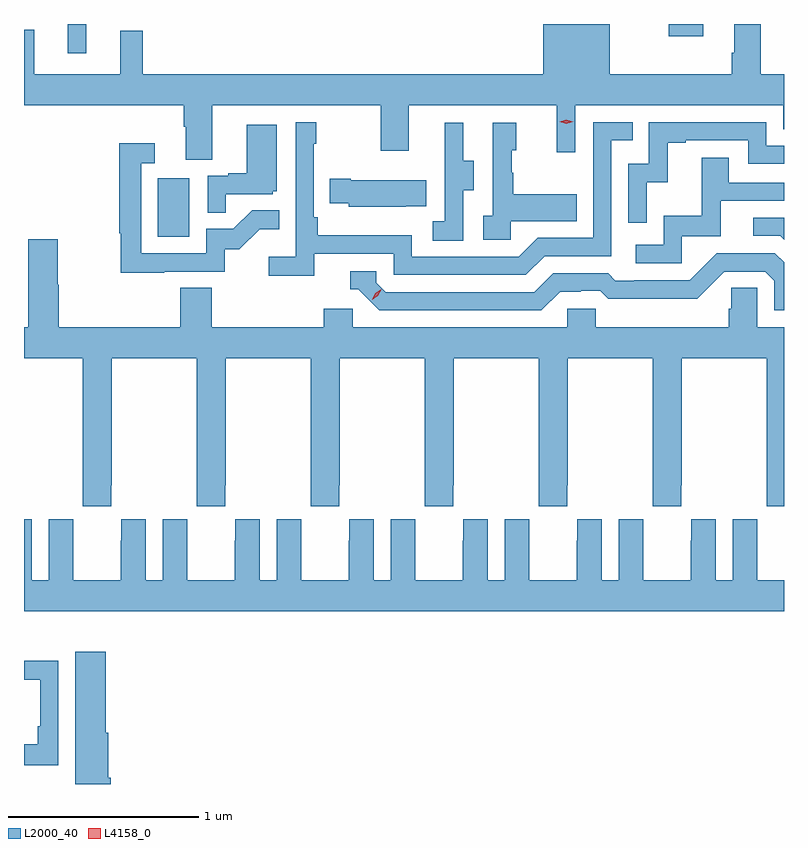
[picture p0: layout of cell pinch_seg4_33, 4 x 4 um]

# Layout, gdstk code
import gdstk
lib = gdstk.Library(unit=1e-6, precision=1e-09)
def R(c, l, rs):  # rectangles x0, y0, x1, y1
    for r in rs: c.add(gdstk.rectangle(r[:2], r[2:], *l))
def P(c, l, *ps):  # polygons
    for p in ps: c.add(gdstk.Polygon(p, *l))
L2000_40 = (2000, 40)
L4158_0 = (4158, 0)

pinch_seg4_33 = lib.new_cell('pinch_seg4_33')
R(pinch_seg4_33, L2000_40, [(1115.036,829.428,1115.2,829.735), (1114.562,830.394,1114.659,830.548), (1117.725,830.484,1117.906,830.548)])
P(pinch_seg4_33, L2000_40, [(1115.323,830.12),(1116.208,830.12),(1116.208,829.881),(1116.355,829.881),(1116.355,830.12),(1117.136,830.12),(1117.136,829.872),(1117.233,829.872),(1117.233,830.12),(1118.328,830.12),(1118.328,829.993),(1118.331,829.993),(1118.331,830.284),(1118.209,830.284),(1118.209,830.548),(1118.069,830.548),(1118.069,830.396),(1118.057,830.396),(1118.057,830.284),(1117.414,830.284),(1117.414,830.548),(1117.064,830.548),(1117.064,830.284),(1114.955,830.284),(1114.955,830.512),(1114.838,830.512),(1114.838,830.284),(1114.385,830.284),(1114.385,830.518),(1114.331,830.518),(1114.331,830.12),(1115.171,830.12),(1115.171,830.008),(1115.183,830.008),(1115.183,829.834),(1115.323,829.834)],
  [(1115.858,829.338),(1116.276,829.338),(1116.276,829.227),(1116.973,829.227),(1117.072,829.326),(1117.422,829.326),(1117.422,829.935),(1117.535,829.935),(1117.535,830.031),(1117.326,830.031),(1117.326,829.422),(1117.035,829.422),(1116.936,829.323),(1116.372,829.323),(1116.372,829.435),(1115.876,829.435),(1115.876,829.531),(1115.856,829.531),(1115.856,829.919),(1115.869,829.919),(1115.869,830.032),(1115.76,830.032),(1115.76,829.324),(1115.619,829.324),(1115.619,829.222),(1115.858,829.222)],
  [(1117.608,829.715),(1117.718,829.715),(1117.718,829.923),(1117.813,829.923),(1117.813,829.935),(1118.142,829.935),(1118.142,829.812),(1118.331,829.812),(1118.331,829.908),(1118.238,829.908),(1118.238,830.031),(1117.62,830.031),(1117.62,829.812),(1117.512,829.812),(1117.512,829.503),(1117.608,829.503)],
  [(1116.894,829.511),(1117.241,829.511),(1117.241,829.651),(1116.907,829.651),(1116.907,829.766),(1116.897,829.766),(1116.897,829.884),(1116.922,829.884),(1116.922,830.029),(1116.798,830.029),(1116.798,829.538),(1116.747,829.538),(1116.747,829.413),(1116.894,829.413)],
  [(1116.642,829.672),(1116.697,829.672),(1116.697,829.827),(1116.643,829.827),(1116.643,830.029),(1116.545,830.029),(1116.545,829.815),(1116.546,829.815),(1116.546,829.511),(1116.483,829.511),(1116.483,829.408),(1116.642,829.408)],
  [(1115.393,829.653),(1115.64,829.653),(1115.64,829.668),(1115.662,829.668),(1115.662,830.017),(1115.504,830.017),(1115.504,829.762),(1115.405,829.762),(1115.405,829.749),(1115.298,829.749),(1115.298,829.555),(1115.393,829.555)],
  [(1115.069,829.245),(1115.388,829.245),(1115.388,829.362),(1115.464,829.362),(1115.571,829.469),(1115.675,829.469),(1115.675,829.568),(1115.531,829.568),(1115.433,829.47),(1115.289,829.47),(1115.289,829.341),(1114.947,829.341),(1114.947,829.815),(1115.02,829.815),(1115.02,829.921),(1114.831,829.921),(1114.831,829.448),(1114.839,829.448),(1114.839,829.24),(1115.069,829.24)],
  [(1117.794,829.431),(1117.999,829.431),(1117.999,829.617),(1118.331,829.617),(1118.331,829.713),(1118.041,829.713),(1118.041,829.843),(1117.897,829.843),(1117.897,829.54),(1117.698,829.54),(1117.698,829.386),(1117.551,829.386),(1117.551,829.29),(1117.794,829.29)],
  [(1116.341,829.589),(1116.449,829.589),(1116.449,829.726),(1116.052,829.726),(1116.052,829.734),(1115.941,829.734),(1115.941,829.604),(1116.039,829.604),(1116.039,829.586),(1116.341,829.586)],
  [(1118.331,829.527),(1118.169,829.527),(1118.169,829.434),(1118.31,829.434),(1118.331,829.413)],
  [(1114.791,828.121),(1114.794,828.121),(1114.794,828.788),(1115.239,828.788),(1115.239,828.121),(1115.241,828.121),(1115.241,828.009),(1115.391,828.009),(1115.391,828.121),(1115.394,828.121),(1115.394,828.788),(1115.839,828.788),(1115.839,828.121),(1115.841,828.121),(1115.841,828.009),(1115.991,828.009),(1115.991,828.121),(1115.994,828.121),(1115.994,828.788),(1116.439,828.788),(1116.439,828.121),(1116.441,828.121),(1116.441,828.009),(1116.591,828.009),(1116.591,828.121),(1116.594,828.121),(1116.594,828.788),(1117.039,828.788),(1117.039,828.121),(1117.041,828.121),(1117.041,828.009),(1117.191,828.009),(1117.191,828.121),(1117.194,828.121),(1117.194,828.788),(1117.639,828.788),(1117.639,828.121),(1117.641,828.121),(1117.641,828.009),(1117.791,828.009),(1117.791,828.121),(1117.794,828.121),(1117.794,828.788),(1118.239,828.788),(1118.239,828.121),(1118.241,828.121),(1118.241,828.009),(1118.331,828.009),(1118.331,828.952),(1118.19,828.952),(1118.19,829.16),(1118.053,829.16),(1118.053,829.05),(1118.039,829.05),(1118.039,828.952),(1117.341,828.952),(1117.341,829.05),(1117.191,829.05),(1117.191,828.952),(1116.06,828.952),(1116.06,829.05),(1115.909,829.05),(1115.909,828.952),(1115.318,828.952),(1115.318,829.16),(1115.153,829.16),(1115.153,828.952),(1114.514,828.952),(1114.514,829.175),(1114.509,829.175),(1114.509,829.414),(1114.354,829.414),(1114.354,828.952),(1114.331,828.952),(1114.331,828.788),(1114.639,828.788),(1114.639,828.121),(1114.641,828.121),(1114.641,828.009),(1114.791,828.009)],
  [(1117.153,829.14),(1117.26,829.14),(1117.26,829.143),(1117.363,829.143),(1117.405,829.101),(1117.638,829.101),(1117.638,829.103),(1117.874,829.103),(1118.016,829.245),(1118.232,829.245),(1118.28,829.197),(1118.28,829.041),(1118.331,829.041),(1118.331,829.293),(1118.283,829.341),(1117.977,829.341),(1117.836,829.2),(1117.543,829.2),(1117.543,829.197),(1117.444,829.197),(1117.405,829.236),(1117.116,829.236),(1117.017,829.137),(1116.234,829.137),(1116.186,829.185),(1116.186,829.248),(1116.047,829.248),(1116.047,829.152),(1116.09,829.152),(1116.201,829.041),(1117.054,829.041)],
  [(1118.331,827.62),(1118.191,827.62),(1118.191,827.828),(1118.19,827.828),(1118.19,827.941),(1118.06,827.941),(1118.06,827.62),(1117.972,827.62),(1117.972,827.941),(1117.842,827.941),(1117.842,827.828),(1117.841,827.828),(1117.841,827.62),(1117.591,827.62),(1117.591,827.828),(1117.59,827.828),(1117.59,827.941),(1117.46,827.941),(1117.46,827.62),(1117.372,827.62),(1117.372,827.941),(1117.242,827.941),(1117.242,827.828),(1117.241,827.828),(1117.241,827.62),(1116.991,827.62),(1116.991,827.828),(1116.99,827.828),(1116.99,827.941),(1116.86,827.941),(1116.86,827.62),(1116.772,827.62),(1116.772,827.941),(1116.642,827.941),(1116.642,827.828),(1116.641,827.828),(1116.641,827.62),(1116.391,827.62),(1116.391,827.828),(1116.39,827.828),(1116.39,827.941),(1116.26,827.941),(1116.26,827.62),(1116.172,827.62),(1116.172,827.941),(1116.042,827.941),(1116.042,827.828),(1116.041,827.828),(1116.041,827.62),(1115.791,827.62),(1115.791,827.828),(1115.79,827.828),(1115.79,827.941),(1115.66,827.941),(1115.66,827.62),(1115.572,827.62),(1115.572,827.941),(1115.442,827.941),(1115.442,827.828),(1115.441,827.828),(1115.441,827.62),(1115.191,827.62),(1115.191,827.828),(1115.19,827.828),(1115.19,827.941),(1115.06,827.941),(1115.06,827.62),(1114.972,827.62),(1114.972,827.941),(1114.842,827.941),(1114.842,827.828),(1114.841,827.828),(1114.841,827.62),(1114.591,827.62),(1114.591,827.828),(1114.59,827.828),(1114.59,827.941),(1114.46,827.941),(1114.46,827.62),(1114.372,827.62),(1114.372,827.941),(1114.331,827.941),(1114.331,827.456),(1118.331,827.456)],
  [(1114.787,826.582),(1114.774,826.582),(1114.774,826.818),(1114.762,826.818),(1114.762,827.245),(1114.601,827.245),(1114.601,826.548),(1114.787,826.548)],
  [(1114.512,827.198),(1114.331,827.198),(1114.331,827.097),(1114.416,827.097),(1114.416,826.852),(1114.403,826.852),(1114.403,826.756),(1114.331,826.756),(1114.331,826.647),(1114.512,826.647)])
P(pinch_seg4_33, L4158_0, [(1116.164,829.098),(1116.164,829.098),(1116.18,829.131),(1116.21,829.151),(1116.21,829.151),(1116.21,829.15),(1116.194,829.118),(1116.164,829.098)],
  [(1117.186,830.023),(1117.151,830.033),(1117.151,830.033),(1117.151,830.034),(1117.186,830.043),(1117.221,830.034),(1117.221,830.033),(1117.221,830.033)])

lib.write_gds('pinch_seg4_33.gds')
